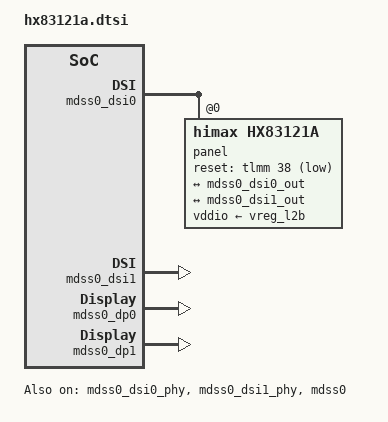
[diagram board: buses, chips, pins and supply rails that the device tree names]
// SPDX-License-Identifier: GPL-2.0

/dts-v1/;

&mdss0_dsi0 {

	status = "okay";
	vdda-supply = <&vreg_l3b>;

	qcom,dual-dsi-mode;
	qcom,master-dsi;
	qcom,sync-dual-dsi;

	panel@0 {
		compatible = "himax,hx83121a";
		reg = <0>;

		reset-gpios = <&tlmm 38 GPIO_ACTIVE_LOW>;

		pinctrl-0 = <&disp_reset_n>;
		pinctrl-names = "default";

		vddio-supply = <&vreg_l2b>;

		ports {
			#address-cells = <1>;
			#size-cells = <0>;

			port@0 {
				reg = <0>;
				panel_in_0: endpoint {
					remote-endpoint = <&mdss0_dsi0_out>;
				};
			};

			port@1 {
				reg = <1>;
				panel_in_1: endpoint {
					remote-endpoint = <&mdss0_dsi1_out>;
				};
			};

		};
	};
};

&mdss0_dsi0_out {
	data-lanes = <0 1 2 3>;
	remote-endpoint = <&panel_in_0>;
};

&mdss0_dsi0_phy {
	status = "okay";
	vdds-supply = <&vreg_l6b>;
};

&mdss0_dsi1 {
	status = "okay";
	vdda-supply = <&vreg_l3b>;

	qcom,dual-dsi-mode;
	qcom,sync-dual-dsi;

};

&mdss0_dsi1_out {
	data-lanes = <0 1 2 3>;
	remote-endpoint = <&panel_in_1>;
};

&mdss0_dsi1_phy {
	status = "okay";
	vdds-supply = <&vreg_l6b>;
};

&mdss0 {
	status = "okay";
};

&mdss0_dp0 {
	status = "okay";
};

&mdss0_dp0_out {
	data-lanes = <0 1 2 3>;
	remote-endpoint = <&usb_0_qmpphy_dp_in>;
};

&mdss0_dp1 {
	status = "okay";
};

&mdss0_dp1_out {
	data-lanes = <0 1 2 3>;
	remote-endpoint = <&usb_1_qmpphy_dp_in>;
};
